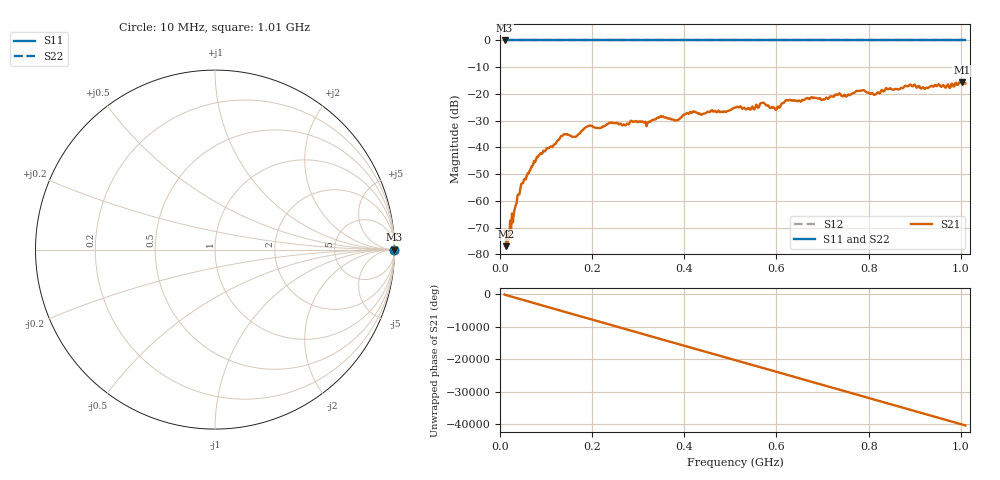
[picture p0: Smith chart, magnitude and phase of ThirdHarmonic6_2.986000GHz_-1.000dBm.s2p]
! 8/17/2025 8:29:53 AM
! C:\ANRITSUVNA\TEMP\TEMP.S2P
! CHANNEL.1
! TR.MEASUREMENT
! RAW.DATA
! RF.CORRECTION.OFF
! AVERAGING.OFF
! IF.BANDWIDTH: 5KHZ
! SWEEPTYPE:  FREQ.SWEEP(Linear)
! Reference Plane Port Info
! PORT:  PORT1  PORT2
! DISTANCE:  0  m  0  m
! TIME:  0  s  0  s
! PHASE.OFFSET:  0  deg.  0  deg.
! LOSS:  0  dB  0  dB
! REF.LOSS:  0  dB  0  dB
! REF.FREQ:  0  Hz  0  Hz
! Power Info
! POWER:  -20  dBm  -20  dBm
! EFF.POWER:  -20  dBm  -20  dBm
! SOURCE.ATTEN:  0  dB  0  dB
! TEST.ATTEN:  0  dB  0  dB
# GHZ S RI R 50.0
! FREQ.GHZ  S11RE  S11IM  S21RE  S21IM  S12RE  S12IM  S22RE  S22IM
!; PortSelection: Port_12
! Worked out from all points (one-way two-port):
!   501 points, 10 MHz to 1.01 GHz, reference 50 ohm
!   highest |S21| = -15.59 dB at 1.002 GHz (marker M1); lowest = -76.9 dB at 14 MHz (marker M2)
!   lowest |S11| = 0.0 dB at 10 MHz (marker M3)
!   |S11| at or under -10 dB: nowhere
!   |S22| runs from 0.0 to 0.0 dB; largest |S21 - S12| = 1.2
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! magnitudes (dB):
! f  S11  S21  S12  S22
! 10 MHz  0.0  -71.1  0.0  0.0
! 14 MHz  0.0  -76.9  0.0  0.0
! 20 MHz  0.0  -74.2  0.0  0.0
! 36 MHz  0.0  -60.9  0.0  0.0
! 48 MHz  0.0  -53.4  0.0  0.0
! 84 MHz  0.0  -43.1  0.0  0.0
! 136 MHz  0.0  -35.6  0.0  0.0
! 162 MHz  0.0  -36.0  0.0  0.0
! 178 MHz  0.0  -33.7  0.0  0.0
! 240 MHz  0.0  -30.8  0.0  0.0
! 322 MHz  0.0  -30.5  0.0  0.0
! 344 MHz  0.0  -29.0  0.0  0.0
! 384 MHz  0.0  -29.8  0.0  0.0
! 416 MHz  0.0  -27.1  0.0  0.0
! 510 MHz  0.0  -25.1  0.0  0.0
! 570 MHz  0.0  -23.3  0.0  0.0
! 596 MHz  0.0  -25.3  0.0  0.0
! 624 MHz  0.0  -22.4  0.0  0.0
! 678 MHz  0.0  -21.3  0.0  0.0
! 844 MHz  0.0  -18.2  0.0  0.0
! 1.002 GHz  0.0  -15.6  0.0  0.0
! 1.01 GHz  0.0  -16.1  0.0  0.0
